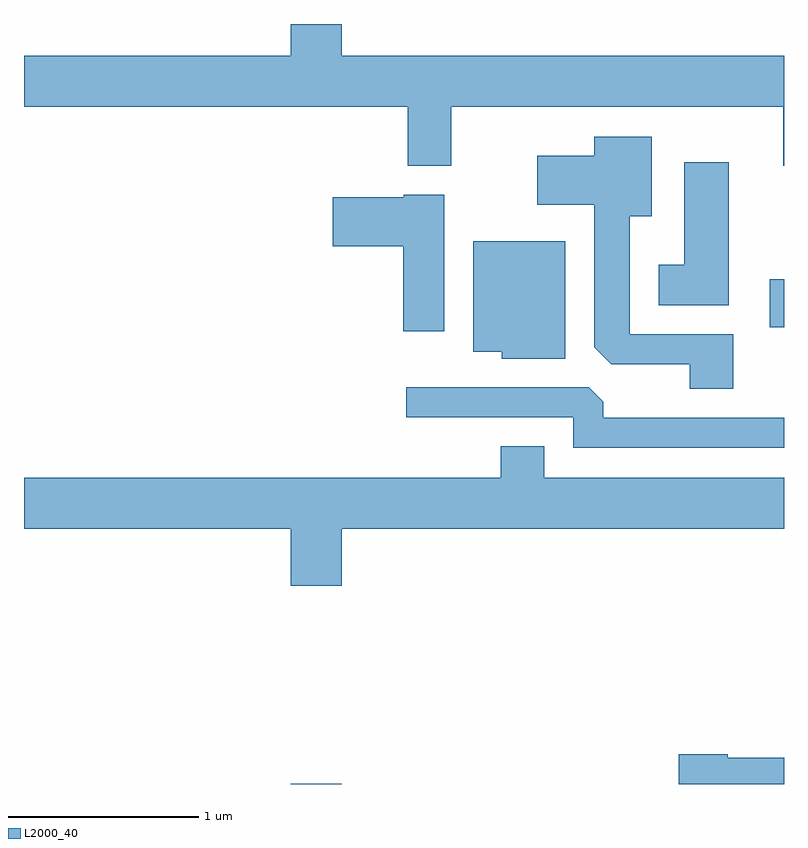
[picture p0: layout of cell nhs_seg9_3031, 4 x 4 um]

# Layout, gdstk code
import gdstk
lib = gdstk.Library(unit=1e-6, precision=1e-09)
def R(c, l, rs):  # rectangles x0, y0, x1, y1
    for r in rs: c.add(gdstk.rectangle(r[:2], r[2:], *l))
def P(c, l, *ps):  # polygons
    for p in ps: c.add(gdstk.Polygon(p, *l))
L2000_40 = (2000, 40)

nhs_seg9_3031 = lib.new_cell('nhs_seg9_3031')
R(nhs_seg9_3031, L2000_40, [(275.016,2030.432,275.284,2030.434), (277.536,2032.836,277.611,2033.089)])
P(nhs_seg9_3031, L2000_40, [(275.859,2033.996),(277.606,2033.996),(277.606,2033.686),(277.611,2033.686),(277.611,2034.264),(275.284,2034.264),(275.284,2034.432),(275.016,2034.432),(275.016,2034.264),(273.611,2034.264),(273.611,2033.996),(275.631,2033.996),(275.631,2033.686),(275.859,2033.686)],
  [(277.344,2032.799),(276.799,2032.799),(276.799,2033.421),(276.914,2033.421),(276.914,2033.839),(276.611,2033.839),(276.611,2033.739),(276.311,2033.739),(276.311,2033.481),(276.611,2033.481),(276.611,2032.732),(276.702,2032.641),(277.116,2032.641),(277.116,2032.511),(277.344,2032.511)],
  [(277.319,2033.704),(277.086,2033.704),(277.086,2033.164),(276.951,2033.164),(276.951,2032.951),(277.319,2032.951)],
  [(275.824,2033.534),(275.61,2033.534),(275.61,2033.519),(275.236,2033.519),(275.236,2033.261),(275.606,2033.261),(275.606,2032.816),(275.824,2032.816)],
  [(276.459,2033.289),(275.976,2033.289),(275.976,2032.706),(276.126,2032.706),(276.126,2032.671),(276.459,2032.671)],
  [(277.611,2032.359),(276.659,2032.359),(276.659,2032.444),(276.584,2032.519),(275.623,2032.519),(275.623,2032.361),(276.501,2032.361),(276.501,2032.201),(277.611,2032.201)],
  [(275.284,2031.776),(277.611,2031.776),(277.611,2032.044),(276.349,2032.044),(276.349,2032.209),(276.121,2032.209),(276.121,2032.044),(273.611,2032.044),(273.611,2031.776),(275.016,2031.776),(275.016,2031.476),(275.284,2031.476)],
  [(277.611,2030.569),(277.314,2030.569),(277.314,2030.589),(277.056,2030.589),(277.056,2030.432),(277.611,2030.432)])

lib.write_gds('nhs_seg9_3031.gds')
